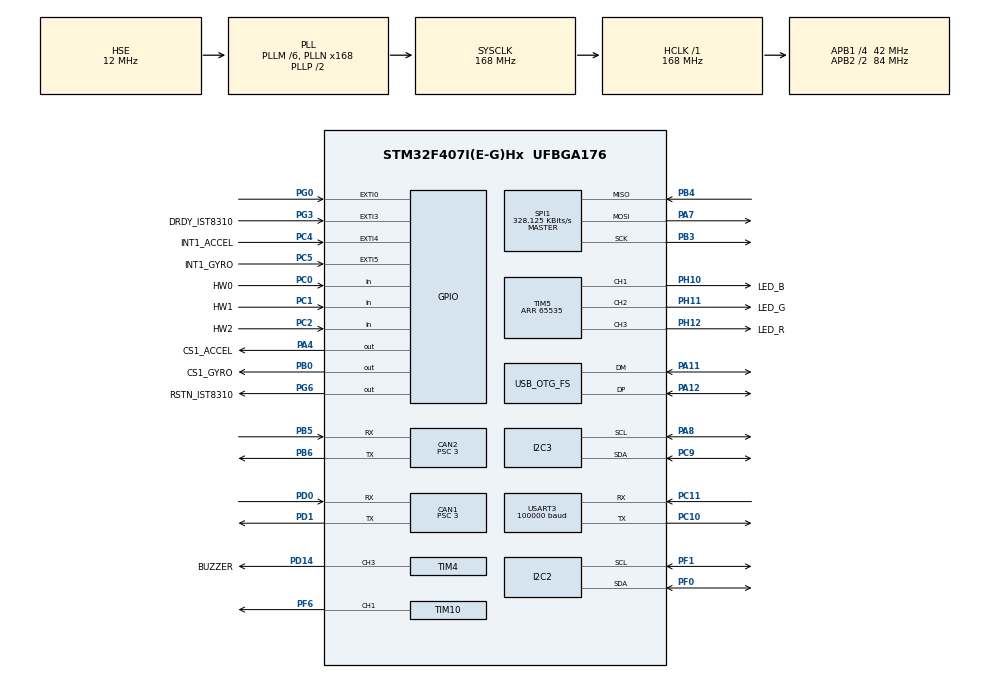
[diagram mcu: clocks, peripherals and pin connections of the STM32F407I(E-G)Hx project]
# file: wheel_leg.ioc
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CAN1.BS1=CAN_BS1_10TQ
CAN1.BS2=CAN_BS2_3TQ
CAN1.CalculateBaudRate=1000000
CAN1.CalculateTimeBit=1000
CAN1.CalculateTimeQuantum=71.42857142857143
CAN1.NART=ENABLE
CAN1.Prescaler=3
CAN2.BS1=CAN_BS1_10TQ
CAN2.BS2=CAN_BS2_3TQ
CAN2.CalculateBaudRate=1000000
CAN2.CalculateTimeBit=1000
CAN2.CalculateTimeQuantum=71.42857142857143
CAN2.NART=ENABLE
CAN2.Prescaler=3
Dma.Request0=USART3_RX
Dma.Request1=SPI1_RX
Dma.Request2=SPI1_TX
Dma.SPI1_RX.1.Direction=DMA_PERIPH_TO_MEMORY
Dma.SPI1_RX.1.FIFOMode=DMA_FIFOMODE_DISABLE
Dma.SPI1_RX.1.Instance=DMA2_Stream2
Dma.SPI1_RX.1.MemDataAlignment=DMA_MDATAALIGN_BYTE
Dma.SPI1_RX.1.MemInc=DMA_MINC_ENABLE
Dma.SPI1_RX.1.Mode=DMA_NORMAL
Dma.SPI1_RX.1.PeriphDataAlignment=DMA_PDATAALIGN_BYTE
Dma.SPI1_RX.1.PeriphInc=DMA_PINC_DISABLE
Dma.SPI1_RX.1.Priority=DMA_PRIORITY_VERY_HIGH
Dma.SPI1_TX.2.Direction=DMA_MEMORY_TO_PERIPH
Dma.SPI1_TX.2.FIFOMode=DMA_FIFOMODE_DISABLE
Dma.SPI1_TX.2.Instance=DMA2_Stream3
Dma.SPI1_TX.2.MemDataAlignment=DMA_MDATAALIGN_BYTE
Dma.SPI1_TX.2.MemInc=DMA_MINC_ENABLE
Dma.SPI1_TX.2.Mode=DMA_NORMAL
Dma.SPI1_TX.2.PeriphDataAlignment=DMA_PDATAALIGN_BYTE
Dma.SPI1_TX.2.PeriphInc=DMA_PINC_DISABLE
Dma.SPI1_TX.2.Priority=DMA_PRIORITY_HIGH
Dma.USART3_RX.0.Direction=DMA_PERIPH_TO_MEMORY
Dma.USART3_RX.0.FIFOMode=DMA_FIFOMODE_DISABLE
Dma.USART3_RX.0.Instance=DMA1_Stream1
Dma.USART3_RX.0.MemDataAlignment=DMA_MDATAALIGN_BYTE
Dma.USART3_RX.0.MemInc=DMA_MINC_ENABLE
Dma.USART3_RX.0.Mode=DMA_NORMAL
Dma.USART3_RX.0.PeriphDataAlignment=DMA_PDATAALIGN_BYTE
Dma.USART3_RX.0.PeriphInc=DMA_PINC_DISABLE
Dma.USART3_RX.0.Priority=DMA_PRIORITY_VERY_HIGH
FREERTOS.Tasks01=defaultTask,0,128,StartDefaultTask,Default,NULL,Dynamic,NULL,NULL;ChassisTask,2,512,StartChassisTask,Default,NULL,Dynamic,NULL,NULL;INSTask,3,512,StartINSTask,Default,NULL,Dynamic,NULL,NULL
I2C3.I2C_Mode=I2C_Fast
Mcu.Family=STM32F4
Mcu.Name=STM32F407I(E-G)Hx
Mcu.Package=UFBGA176
NVIC.CAN1_RX0_IRQn=true\:5\:0\:false\:false\:true\:true\:true\:true\:true
NVIC.CAN1_TX_IRQn=true\:5\:0\:false\:false\:true\:true\:true\:true\:true
NVIC.CAN2_RX0_IRQn=true\:5\:0\:false\:false\:true\:true\:true\:true\:true
NVIC.CAN2_TX_IRQn=true\:5\:0\:false\:false\:true\:true\:true\:true\:true
NVIC.DMA1_Stream1_IRQn=true\:5\:0\:false\:false\:true\:true\:false\:true\:true
NVIC.DMA2_Stream2_IRQn=true\:5\:0\:false\:false\:true\:true\:false\:true\:true
NVIC.DMA2_Stream3_IRQn=true\:5\:0\:false\:false\:true\:true\:false\:true\:true
NVIC.EXTI0_IRQn=true\:5\:0\:false\:false\:true\:true\:true\:true\:true
NVIC.EXTI3_IRQn=true\:5\:0\:false\:false\:true\:true\:true\:true\:true
NVIC.EXTI4_IRQn=true\:5\:0\:false\:false\:true\:true\:true\:true\:true
NVIC.EXTI9_5_IRQn=true\:5\:0\:false\:false\:true\:true\:true\:true\:true
NVIC.OTG_FS_IRQn=true\:5\:0\:false\:false\:true\:true\:false\:true\:true
NVIC.PriorityGroup=NVIC_PRIORITYGROUP_4
NVIC.TIM2_IRQn=true\:15\:0\:false\:false\:true\:false\:false\:true\:true
NVIC.TimeBase=TIM2_IRQn
NVIC.TimeBaseIP=TIM2
NVIC.USART3_IRQn=true\:5\:0\:false\:false\:false\:true\:true\:true\:true
PA11.Mode=Device_Only
PA11.Signal=USB_OTG_FS_DM
PA12.Mode=Device_Only
PA12.Signal=USB_OTG_FS_DP
PA13.Mode=Serial_Wire
PA13.Signal=SYS_JTMS-SWDIO
PA14.Mode=Serial_Wire
PA14.Signal=SYS_JTCK-SWCLK
PA4.GPIO_Label=CS1_ACCEL
PA4.GPIO_PuPd=GPIO_PULLUP
PA4.GPIO_Speed=GPIO_SPEED_FREQ_HIGH
PA4.PinState=GPIO_PIN_SET
PA4.Signal=GPIO_Output
PA7.Mode=Full_Duplex_Master
PA7.Signal=SPI1_MOSI
PA8.Mode=I2C
PA8.Signal=I2C3_SCL
PB0.GPIO_Label=CS1_GYRO
PB0.GPIO_PuPd=GPIO_PULLUP
PB0.GPIO_Speed=GPIO_SPEED_FREQ_HIGH
PB0.PinState=GPIO_PIN_SET
PB0.Signal=GPIO_Output
PB3.Mode=Full_Duplex_Master
PB3.Signal=SPI1_SCK
PB4.Mode=Full_Duplex_Master
PB4.Signal=SPI1_MISO
PB5.Mode=CAN_Activate
PB5.Signal=CAN2_RX
PB6.Mode=CAN_Activate
PB6.Signal=CAN2_TX
PC0.GPIO_Label=HW0
PC0.Signal=GPIO_Input
PC1.GPIO_Label=HW1
PC1.Signal=GPIO_Input
PC10.Mode=Asynchronous
PC10.Signal=USART3_TX
PC11.Mode=Asynchronous
PC11.Signal=USART3_RX
PC2.GPIO_Label=HW2
PC2.Signal=GPIO_Input
PC4.GPIO_Label=INT1_ACCEL
PC4.GPIO_ModeDefaultEXTI=GPIO_MODE_IT_FALLING
PC4.GPIO_PuPd=GPIO_PULLUP
PC4.Signal=GPXTI4
PC5.GPIO_Label=INT1_GYRO
PC5.GPIO_ModeDefaultEXTI=GPIO_MODE_IT_FALLING
PC5.GPIO_PuPd=GPIO_PULLUP
PC5.Signal=GPXTI5
PC9.Mode=I2C
PC9.Signal=I2C3_SDA
PD0.Mode=CAN_Activate
PD0.Signal=CAN1_RX
PD1.Mode=CAN_Activate
PD1.Signal=CAN1_TX
PD14.GPIO_Label=BUZZER
PD14.GPIO_PuPd=GPIO_PULLUP
PD14.GPIO_Speed=GPIO_SPEED_FREQ_VERY_HIGH
PD14.Signal=S_TIM4_CH3
PF0.Mode=I2C
PF0.Signal=I2C2_SDA
PF1.Mode=I2C
PF1.Signal=I2C2_SCL
PF6.GPIO_PuPd=GPIO_PULLUP
PF6.GPIO_Speed=GPIO_SPEED_FREQ_HIGH
PF6.Signal=S_TIM10_CH1
PG0.GPIO_ModeDefaultEXTI=GPIO_MODE_IT_FALLING
PG0.GPIO_PuPd=GPIO_PULLUP
PG0.Signal=GPXTI0
PG3.GPIO_Label=DRDY_IST8310
PG3.GPIO_ModeDefaultEXTI=GPIO_MODE_IT_FALLING
PG3.GPIO_PuPd=GPIO_PULLUP
PG3.Signal=GPXTI3
PG6.GPIO_Label=RSTN_IST8310
PG6.GPIO_ModeDefaultOutputPP=GPIO_MODE_OUTPUT_PP
PG6.GPIO_PuPd=GPIO_PULLUP
PG6.GPIO_Speed=GPIO_SPEED_FREQ_MEDIUM
PG6.PinState=GPIO_PIN_SET
PG6.Signal=GPIO_Output
PH0-OSC_IN.Mode=HSE-External-Oscillator
PH0-OSC_IN.Signal=RCC_OSC_IN
PH1-OSC_OUT.Mode=HSE-External-Oscillator
PH1-OSC_OUT.Signal=RCC_OSC_OUT
PH10.GPIO_Label=LED_B
PH10.GPIO_PuPd=GPIO_PULLUP
PH10.GPIO_Speed=GPIO_SPEED_FREQ_HIGH
PH10.Signal=S_TIM5_CH1
PH11.GPIO_Label=LED_G
PH11.GPIO_PuPd=GPIO_PULLUP
PH11.GPIO_Speed=GPIO_SPEED_FREQ_HIGH
PH11.Signal=S_TIM5_CH2
PH12.GPIO_Label=LED_R
PH12.GPIO_PuPd=GPIO_PULLUP
PH12.GPIO_Speed=GPIO_SPEED_FREQ_HIGH
PH12.Signal=S_TIM5_CH3
ProjectManager.HeapSize=0x1000
ProjectManager.StackSize=0x1000
ProjectManager.TargetToolchain=MDK-ARM V5.32
RCC.48MHZClocksFreq_Value=48000000
RCC.AHBFreq_Value=168000000
RCC.APB1CLKDivider=RCC_HCLK_DIV4
RCC.APB1Freq_Value=42000000
RCC.APB1TimFreq_Value=84000000
RCC.APB2CLKDivider=RCC_HCLK_DIV2
RCC.APB2Freq_Value=84000000
RCC.APB2TimFreq_Value=168000000
RCC.CortexFreq_Value=168000000
RCC.HCLKFreq_Value=168000000
RCC.HSE_VALUE=12000000
RCC.HSI_VALUE=16000000
RCC.LSE_VALUE=32768
RCC.PLLM=6
RCC.PLLN=168
RCC.PLLQ=7
RCC.SYSCLKFreq_VALUE=168000000
RCC.SYSCLKSource=RCC_SYSCLKSOURCE_PLLCLK
RCC.VCOOutputFreq_Value=336000000
SH.S_TIM10_CH1.0=TIM10_CH1,PWM Generation1 CH1
SH.S_TIM4_CH3.0=TIM4_CH3,PWM Generation3 CH3
SH.S_TIM5_CH1.0=TIM5_CH1,PWM Generation1 CH1
SH.S_TIM5_CH2.0=TIM5_CH2,PWM Generation2 CH2
SH.S_TIM5_CH3.0=TIM5_CH3,PWM Generation3 CH3
SPI1.BaudRatePrescaler=SPI_BAUDRATEPRESCALER_256
SPI1.CLKPhase=SPI_PHASE_2EDGE
SPI1.CLKPolarity=SPI_POLARITY_HIGH
SPI1.CalculateBaudRate=328.125 KBits/s
SPI1.Direction=SPI_DIRECTION_2LINES
SPI1.Mode=SPI_MODE_MASTER
SPI1.VirtualType=VM_MASTER
STMicroelectronics.X-CUBE-ALGOBUILD.1.3.0.LibraryCcDSPOoLibraryJjDSPOoLibrary=true
TIM10.Channel=TIM_CHANNEL_1
TIM10.Period=4999
TIM10.Prescaler=0
TIM4.Channel-PWM\ Generation3\ CH3=TIM_CHANNEL_3
TIM4.Period=20999
TIM4.Prescaler=0
TIM5.Channel-PWM\ Generation1\ CH1=TIM_CHANNEL_1
TIM5.Channel-PWM\ Generation2\ CH2=TIM_CHANNEL_2
TIM5.Channel-PWM\ Generation3\ CH3=TIM_CHANNEL_3
TIM5.Period=65535
USART3.BaudRate=100000
USART3.Parity=PARITY_EVEN
USART3.VirtualMode=VM_ASYNC
USB_DEVICE.CLASS_NAME_FS=CDC
USB_DEVICE.VirtualMode-CDC_FS=Cdc
USB_DEVICE.VirtualModeFS=Cdc_FS
USB_OTG_FS.VirtualMode=Device_Only
VP_FREERTOS_VS_CMSIS_V1.Mode=CMSIS_V1
VP_STMicroelectronics.X-CUBE-ALGOBUILD_VS_DSPOoLibraryJjLibrary_1.3.0_1.3.0.Mode=DSPOoLibraryJjLibrary
VP_SYS_VS_tim2.Mode=TIM2
VP_TIM10_VS_ClockSourceINT.Mode=Enable_Timer
VP_TIM4_VS_ClockSourceINT.Mode=Internal
VP_TIM5_VS_ClockSourceINT.Mode=Internal
VP_USB_DEVICE_VS_USB_DEVICE_CDC_FS.Mode=CDC_FS
board=custom

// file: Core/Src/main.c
/* USER CODE BEGIN Header */
/**
  ******************************************************************************
  * @file           : main.c
  * @brief          : Main program body
  ******************************************************************************
  * @attention
  *
  * Copyright (c) 2025 STMicroelectronics.
  * All rights reserved.
  *
  * This software is licensed under terms that can be found in the LICENSE file
  * in the root directory of this software component.
  * If no LICENSE file comes with this software, it is provided AS-IS.
  *
  ******************************************************************************
  */
/* USER CODE END Header */
#include "main.h"
#include "cmsis_os.h"
#include "can.h"
#include "dma.h"
#include "i2c.h"
#include "spi.h"
#include "tim.h"
#include "usart.h"
#include "usb_device.h"
#include "gpio.h"

/* USER CODE BEGIN Includes */

#include "bsp_delay.h"
#include "bsp_can.h"
#include "bsp_dwt.h"
#include "remote.h"
#include "BMI088driver.h"
#include "buzzer.h"
#include "essemi_swd_print.h"

/* USER CODE END Includes */

void SystemClock_Config(void);
void MX_FREERTOS_Init(void);

int main(void)
{

  /* MCU Configuration--------------------------------------------------------*/

  /* Reset of all peripherals, Initializes the Flash interface and the Systick. */
  HAL_Init();

  /* Configure the system clock */
  SystemClock_Config();

  /* Initialize all configured peripherals */
  MX_GPIO_Init();
  MX_DMA_Init();
  MX_USART3_UART_Init();
  MX_CAN1_Init();
  MX_CAN2_Init();
  MX_SPI1_Init();
  MX_I2C3_Init();
  MX_TIM4_Init();
  MX_TIM5_Init();
  MX_TIM10_Init();
  MX_I2C2_Init();
  /* USER CODE BEGIN 2 */

  /** Debug缓冲区初始化 **/
  essemi_swd_configupbuffer(0, "SWDUP", NULL, 0, ESSEMI_SWD_MODE_BLOCK_IF_FIFO_FULL);
  essemi_swd_configdownbuffer(0, "SWDDOWN", NULL, 0, ESSEMI_SWD_MODE_BLOCK_IF_FIFO_FULL);

  /** can过滤器初始化 **/
  can_filter_init();

  /** 延时模块初始化 **/
  delay_init();

  /** 遥控器模块初始化 **/
  remote_control_init();

  /** dwt外设初始化 **/
  DWT_Init(168);

  /** IMU初始化 **/
  while (BMI088_init(&hspi1, 1) != BMI088_NO_ERROR);

  Buzzer_Init();

  /* USER CODE END 2 */

  /* Call init function for freertos objects (in freertos.c) */
  MX_FREERTOS_Init();

  /* Start scheduler */
  osKernelStart();

  /* We should never get here as control is now taken by the scheduler */
  /* Infinite loop */
  while (1)
  {

  }
}

void SystemClock_Config(void)
{
  RCC_OscInitTypeDef RCC_OscInitStruct = {0};
  RCC_ClkInitTypeDef RCC_ClkInitStruct = {0};

  /** Configure the main internal regulator output voltage
  */
  __HAL_RCC_PWR_CLK_ENABLE();
  __HAL_PWR_VOLTAGESCALING_CONFIG(PWR_REGULATOR_VOLTAGE_SCALE1);

  /** Initializes the RCC Oscillators according to the specified parameters
  * in the RCC_OscInitTypeDef structure.
  */
  RCC_OscInitStruct.OscillatorType = RCC_OSCILLATORTYPE_HSE;
  RCC_OscInitStruct.HSEState = RCC_HSE_ON;
  RCC_OscInitStruct.PLL.PLLState = RCC_PLL_ON;
  RCC_OscInitStruct.PLL.PLLSource = RCC_PLLSOURCE_HSE;
  RCC_OscInitStruct.PLL.PLLM = 6;
  RCC_OscInitStruct.PLL.PLLN = 168;
  RCC_OscInitStruct.PLL.PLLP = RCC_PLLP_DIV2;
  RCC_OscInitStruct.PLL.PLLQ = 7;
  if (HAL_RCC_OscConfig(&RCC_OscInitStruct) != HAL_OK)
  {
    Error_Handler();
  }

  /** Initializes the CPU, AHB and APB buses clocks
  */
  RCC_ClkInitStruct.ClockType = RCC_CLOCKTYPE_HCLK|RCC_CLOCKTYPE_SYSCLK
                              |RCC_CLOCKTYPE_PCLK1|RCC_CLOCKTYPE_PCLK2;
  RCC_ClkInitStruct.SYSCLKSource = RCC_SYSCLKSOURCE_PLLCLK;
  RCC_ClkInitStruct.AHBCLKDivider = RCC_SYSCLK_DIV1;
  RCC_ClkInitStruct.APB1CLKDivider = RCC_HCLK_DIV4;
  RCC_ClkInitStruct.APB2CLKDivider = RCC_HCLK_DIV2;

  if (HAL_RCC_ClockConfig(&RCC_ClkInitStruct, FLASH_LATENCY_5) != HAL_OK)
  {
    Error_Handler();
  }
}

void HAL_TIM_PeriodElapsedCallback(TIM_HandleTypeDef *htim)
{
  if (htim->Instance == TIM2) {
    HAL_IncTick();
  }
}

void Error_Handler(void)
{
  __disable_irq();
  while (1)
  {
  }
}

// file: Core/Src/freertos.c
/* USER CODE BEGIN Header */
/**
  ******************************************************************************
  * File Name          : freertos.c
  * Description        : Code for freertos applications
  ******************************************************************************
  * @attention
  *
  * Copyright (c) 2025 STMicroelectronics.
  * All rights reserved.
  *
  * This software is licensed under terms that can be found in the LICENSE file
  * in the root directory of this software component.
  * If no LICENSE file comes with this software, it is provided AS-IS.
  *
  ******************************************************************************
  */
/* USER CODE END Header */

#include "FreeRTOS.h"
#include "task.h"
#include "main.h"
#include "cmsis_os.h"

/* USER CODE BEGIN Includes */

#include "chassis_task.h"
#include "ins_task.h"

/* USER CODE END Includes */

osThreadId defaultTaskHandle;
osThreadId ChassisTaskHandle;
osThreadId INSTaskHandle;

void StartDefaultTask(void const * argument);
void StartChassisTask(void const * argument);
void StartINSTask(void const * argument);

extern void MX_USB_DEVICE_Init(void);
void MX_FREERTOS_Init(void); /* (MISRA C 2004 rule 8.1) */

/* GetIdleTaskMemory prototype (linked to static allocation support) */
void vApplicationGetIdleTaskMemory( StaticTask_t **ppxIdleTaskTCBBuffer, StackType_t **ppxIdleTaskStackBuffer, uint32_t *pulIdleTaskStackSize );

/* USER CODE BEGIN GET_IDLE_TASK_MEMORY */
static StaticTask_t xIdleTaskTCBBuffer;
static StackType_t xIdleStack[configMINIMAL_STACK_SIZE];

void vApplicationGetIdleTaskMemory( StaticTask_t **ppxIdleTaskTCBBuffer, StackType_t **ppxIdleTaskStackBuffer, uint32_t *pulIdleTaskStackSize )
{
  *ppxIdleTaskTCBBuffer = &xIdleTaskTCBBuffer;
  *ppxIdleTaskStackBuffer = &xIdleStack[0];
  *pulIdleTaskStackSize = configMINIMAL_STACK_SIZE;
  /* place for user code */
}
/* USER CODE END GET_IDLE_TASK_MEMORY */

void MX_FREERTOS_Init(void) {

  /* Create the thread(s) */
  /* definition and creation of defaultTask */
  osThreadDef(defaultTask, StartDefaultTask, osPriorityNormal, 0, 128);
  defaultTaskHandle = osThreadCreate(osThread(defaultTask), NULL);

  /* definition and creation of ChassisTask */
  osThreadDef(ChassisTask, StartChassisTask, osPriorityHigh, 0, 512);
  ChassisTaskHandle = osThreadCreate(osThread(ChassisTask), NULL);

  /* definition and creation of INSTask */
  osThreadDef(INSTask, StartINSTask, osPriorityRealtime, 0, 512);
  INSTaskHandle = osThreadCreate(osThread(INSTask), NULL);

}

void StartDefaultTask(void const * argument)
{
  /* init code for USB_DEVICE */
  MX_USB_DEVICE_Init();
  for(;;)
  {
    osDelay(1);
  }
}

void StartChassisTask(void const * argument)
{
  /* USER CODE BEGIN StartChassisTask */
  chassis_init();

  /* Infinite loop */
  for(;;)
  {
    chassis_task();
    osDelay(2); // 500Hz
  }
  /* USER CODE END StartChassisTask */
}

void StartINSTask(void const * argument)
{
  /* USER CODE BEGIN StartINSTask */
    INS_Init();
    /* Infinite loop */
    for (;;)
    {
        INS_Task();
        osDelay(1); // 1kHz
    }
  /* USER CODE END StartINSTask */
}
